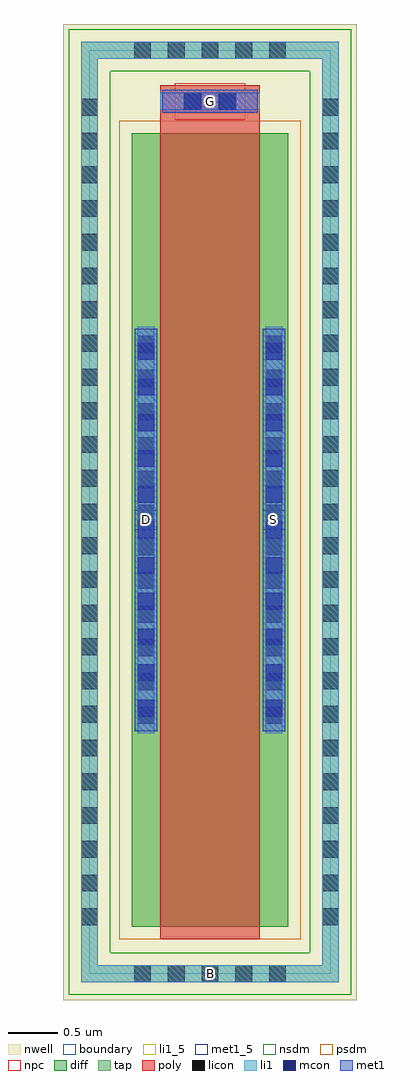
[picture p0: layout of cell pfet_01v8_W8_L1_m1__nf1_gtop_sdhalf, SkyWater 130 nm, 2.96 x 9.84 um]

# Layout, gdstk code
import gdstk
lib = gdstk.Library(unit=1e-6, precision=1e-09)
def R(c, l, rs):  # rectangles x0, y0, x1, y1
    for r in rs: c.add(gdstk.rectangle(r[:2], r[2:], *l))
def A(c, l, x, y, w, h, nx, ny, dx, dy):  # array of equal rectangles
    R(c, l, [(x+i*dx, y+j*dy, x+i*dx+w, y+j*dy+h) for i in range(nx) for j in range(ny)])
nwell = (64, 20)
diff = (65, 20)
tap = (65, 44)
poly = (66, 20)
licon = (66, 44)
li1_5 = (67, 5)
li1 = (67, 20)
mcon = (67, 44)
met1_5 = (68, 5)
met1 = (68, 20)
nsdm = (93, 44)
psdm = (94, 20)
npc = (95, 20)
boundary = (235, 4)

sky130_fd_pr__pfet_01v8_ = lib.new_cell('sky130_fd_pr__pfet_01v8_9L69RC')
R(sky130_fd_pr__pfet_01v8_, nwell, [(-1.48,-4.92,1.48,4.92)])
R(sky130_fd_pr__pfet_01v8_, diff, [(-0.79,-4.18,0.79,3.82)])
R(sky130_fd_pr__pfet_01v8_, tap, [(-1.3,-4.74,1.3,-4.57), (-1.3,-4.57,-1.13,4.57), (1.13,-4.57,1.3,4.57), (-1.3,4.57,1.3,4.74)])
R(sky130_fd_pr__pfet_01v8_, poly, [(-0.5,-4.31,0.5,4.305)])
A(sky130_fd_pr__pfet_01v8_, licon, -0.765, -4.74, 0.17, 0.17, 5, 2, 0.34, 9.31)
A(sky130_fd_pr__pfet_01v8_, licon, -1.3, -4.165, 0.17, 0.17, 1, 25, 0, 0.34)
A(sky130_fd_pr__pfet_01v8_, licon, 1.13, -4.165, 0.17, 0.17, 1, 25, 0, 0.34)
A(sky130_fd_pr__pfet_01v8_, licon, -0.73, -2.135, 0.17, 0.17, 1, 12, 0, 0.34)
A(sky130_fd_pr__pfet_01v8_, licon, 0.56, -2.135, 0.17, 0.17, 1, 12, 0, 0.34)
R(sky130_fd_pr__pfet_01v8_, licon, [(-0.255,4.055,-0.085,4.225), (0.085,4.055,0.255,4.225)])
R(sky130_fd_pr__pfet_01v8_, li1, [(-1.3,-4.74,1.3,-4.57), (-1.3,-4.57,-1.13,4.57), (1.13,-4.57,1.3,4.57), (-0.73,-2.23,-0.56,1.87), (0.56,-2.23,0.73,1.87), (-0.5,4.055,0.5,4.225), (-1.3,4.57,1.3,4.74)])
A(sky130_fd_pr__pfet_01v8_, mcon, -0.73, -2.065, 0.17, 0.17, 1, 11, 0, 0.36)
A(sky130_fd_pr__pfet_01v8_, mcon, 0.56, -2.065, 0.17, 0.17, 1, 11, 0, 0.36)
R(sky130_fd_pr__pfet_01v8_, mcon, [(-0.265,4.055,-0.095,4.225), (0.095,4.055,0.265,4.225)])
R(sky130_fd_pr__pfet_01v8_, met1, [(-0.76,-2.21,-0.53,1.85), (0.53,-2.21,0.76,1.85), (-0.48,4.025,0.48,4.255)])
R(sky130_fd_pr__pfet_01v8_, nsdm, [(-1.425,-4.865,1.425,-4.445), (-1.425,-4.445,-1.005,4.445), (1.005,-4.445,1.425,4.445), (-1.425,4.445,1.425,4.865)])
R(sky130_fd_pr__pfet_01v8_, psdm, [(-0.915,-4.305,0.915,3.945)])
R(sky130_fd_pr__pfet_01v8_, npc, [(-0.355,3.955,0.355,4.325)])
R(sky130_fd_pr__pfet_01v8_, boundary, [(-1.215,-4.655,1.215,4.655)])
sky130_fd_pr__pfet_01v8_.add(gdstk.Label('B', (0,-4.655), layer=67, texttype=5))
sky130_fd_pr__pfet_01v8_.add(gdstk.Label('D', (-0.645,-0.18), layer=67, texttype=5))
sky130_fd_pr__pfet_01v8_.add(gdstk.Label('S', (0.645,-0.18), layer=67, texttype=5))
sky130_fd_pr__pfet_01v8_.add(gdstk.Label('G', (0,4.14), layer=67, texttype=5))

pfet_01v8_w8_l1_m1__nf1_ = lib.new_cell('pfet_01v8_W8_L1_m1__nf1_gtop_sdhalf')
R(pfet_01v8_w8_l1_m1__nf1_, li1_5, [(1.13,-0.085,1.3,0.085)])
R(pfet_01v8_w8_l1_m1__nf1_, li1, [(1.13,-0.085,1.3,0.085)])
R(pfet_01v8_w8_l1_m1__nf1_, met1_5, [(0.455,4.475,0.685,4.675), (1.745,4.475,1.975,4.675), (0.735,8.68,1.695,8.91)])
R(pfet_01v8_w8_l1_m1__nf1_, met1, [(0.455,4.475,0.685,4.675), (1.745,4.475,1.975,4.675), (0.735,8.68,1.695,8.91)])
pfet_01v8_w8_l1_m1__nf1_.add(gdstk.Reference(sky130_fd_pr__pfet_01v8_, (1.215,4.655)))
pfet_01v8_w8_l1_m1__nf1_.add(gdstk.Label('D', (0.57,4.575), layer=68, texttype=5))
pfet_01v8_w8_l1_m1__nf1_.add(gdstk.Label('S', (1.86,4.575), layer=68, texttype=5))
pfet_01v8_w8_l1_m1__nf1_.add(gdstk.Label('G', (1.215,8.795), layer=68, texttype=5))
pfet_01v8_w8_l1_m1__nf1_.add(gdstk.Label('B', (1.215,0), layer=67, texttype=5))

lib.write_gds('pfet_01v8_W8_L1_m1__nf1_gtop_sdhalf.gds')
